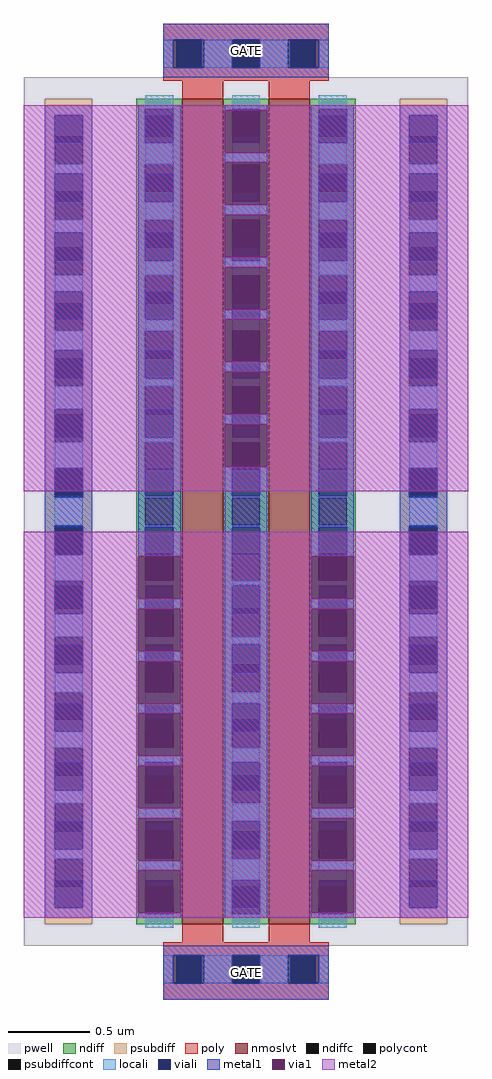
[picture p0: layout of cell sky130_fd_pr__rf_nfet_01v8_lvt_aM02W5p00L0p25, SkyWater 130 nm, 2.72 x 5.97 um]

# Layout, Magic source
magic
tech sky130A
magscale 1 2
<< pwell >>
rect 10 76 554 1138
<< nmoslvt >>
rect 204 102 254 1112
rect 310 102 360 1112
<< ndiff >>
rect 148 1100 204 1112
rect 148 1066 159 1100
rect 193 1066 204 1100
rect 148 1032 204 1066
rect 148 998 159 1032
rect 193 998 204 1032
rect 148 964 204 998
rect 148 930 159 964
rect 193 930 204 964
rect 148 896 204 930
rect 148 862 159 896
rect 193 862 204 896
rect 148 828 204 862
rect 148 794 159 828
rect 193 794 204 828
rect 148 760 204 794
rect 148 726 159 760
rect 193 726 204 760
rect 148 692 204 726
rect 148 658 159 692
rect 193 658 204 692
rect 148 624 204 658
rect 148 590 159 624
rect 193 590 204 624
rect 148 556 204 590
rect 148 522 159 556
rect 193 522 204 556
rect 148 488 204 522
rect 148 454 159 488
rect 193 454 204 488
rect 148 420 204 454
rect 148 386 159 420
rect 193 386 204 420
rect 148 352 204 386
rect 148 318 159 352
rect 193 318 204 352
rect 148 284 204 318
rect 148 250 159 284
rect 193 250 204 284
rect 148 216 204 250
rect 148 182 159 216
rect 193 182 204 216
rect 148 148 204 182
rect 148 114 159 148
rect 193 114 204 148
rect 148 102 204 114
rect 254 1100 310 1112
rect 254 1066 265 1100
rect 299 1066 310 1100
rect 254 1032 310 1066
rect 254 998 265 1032
rect 299 998 310 1032
rect 254 964 310 998
rect 254 930 265 964
rect 299 930 310 964
rect 254 896 310 930
rect 254 862 265 896
rect 299 862 310 896
rect 254 828 310 862
rect 254 794 265 828
rect 299 794 310 828
rect 254 760 310 794
rect 254 726 265 760
rect 299 726 310 760
rect 254 692 310 726
rect 254 658 265 692
rect 299 658 310 692
rect 254 624 310 658
rect 254 590 265 624
rect 299 590 310 624
rect 254 556 310 590
rect 254 522 265 556
rect 299 522 310 556
rect 254 488 310 522
rect 254 454 265 488
rect 299 454 310 488
rect 254 420 310 454
rect 254 386 265 420
rect 299 386 310 420
rect 254 352 310 386
rect 254 318 265 352
rect 299 318 310 352
rect 254 284 310 318
rect 254 250 265 284
rect 299 250 310 284
rect 254 216 310 250
rect 254 182 265 216
rect 299 182 310 216
rect 254 148 310 182
rect 254 114 265 148
rect 299 114 310 148
rect 254 102 310 114
rect 360 1100 416 1112
rect 360 1066 371 1100
rect 405 1066 416 1100
rect 360 1032 416 1066
rect 360 998 371 1032
rect 405 998 416 1032
rect 360 964 416 998
rect 360 930 371 964
rect 405 930 416 964
rect 360 896 416 930
rect 360 862 371 896
rect 405 862 416 896
rect 360 828 416 862
rect 360 794 371 828
rect 405 794 416 828
rect 360 760 416 794
rect 360 726 371 760
rect 405 726 416 760
rect 360 692 416 726
rect 360 658 371 692
rect 405 658 416 692
rect 360 624 416 658
rect 360 590 371 624
rect 405 590 416 624
rect 360 556 416 590
rect 360 522 371 556
rect 405 522 416 556
rect 360 488 416 522
rect 360 454 371 488
rect 405 454 416 488
rect 360 420 416 454
rect 360 386 371 420
rect 405 386 416 420
rect 360 352 416 386
rect 360 318 371 352
rect 405 318 416 352
rect 360 284 416 318
rect 360 250 371 284
rect 405 250 416 284
rect 360 216 416 250
rect 360 182 371 216
rect 405 182 416 216
rect 360 148 416 182
rect 360 114 371 148
rect 405 114 416 148
rect 360 102 416 114
<< ndiffc >>
rect 159 1066 193 1100
rect 159 998 193 1032
rect 159 930 193 964
rect 159 862 193 896
rect 159 794 193 828
rect 159 726 193 760
rect 159 658 193 692
rect 159 590 193 624
rect 159 522 193 556
rect 159 454 193 488
rect 159 386 193 420
rect 159 318 193 352
rect 159 250 193 284
rect 159 182 193 216
rect 159 114 193 148
rect 265 1066 299 1100
rect 265 998 299 1032
rect 265 930 299 964
rect 265 862 299 896
rect 265 794 299 828
rect 265 726 299 760
rect 265 658 299 692
rect 265 590 299 624
rect 265 522 299 556
rect 265 454 299 488
rect 265 386 299 420
rect 265 318 299 352
rect 265 250 299 284
rect 265 182 299 216
rect 265 114 299 148
rect 371 1066 405 1100
rect 371 998 405 1032
rect 371 930 405 964
rect 371 862 405 896
rect 371 794 405 828
rect 371 726 405 760
rect 371 658 405 692
rect 371 590 405 624
rect 371 522 405 556
rect 371 454 405 488
rect 371 386 405 420
rect 371 318 405 352
rect 371 250 405 284
rect 371 182 405 216
rect 371 114 405 148
<< psubdiff >>
rect 36 1066 94 1112
rect 36 1032 48 1066
rect 82 1032 94 1066
rect 36 998 94 1032
rect 36 964 48 998
rect 82 964 94 998
rect 36 930 94 964
rect 36 896 48 930
rect 82 896 94 930
rect 36 862 94 896
rect 36 828 48 862
rect 82 828 94 862
rect 36 794 94 828
rect 36 760 48 794
rect 82 760 94 794
rect 36 726 94 760
rect 36 692 48 726
rect 82 692 94 726
rect 36 658 94 692
rect 36 624 48 658
rect 82 624 94 658
rect 36 590 94 624
rect 36 556 48 590
rect 82 556 94 590
rect 36 522 94 556
rect 36 488 48 522
rect 82 488 94 522
rect 36 454 94 488
rect 36 420 48 454
rect 82 420 94 454
rect 36 386 94 420
rect 36 352 48 386
rect 82 352 94 386
rect 36 318 94 352
rect 36 284 48 318
rect 82 284 94 318
rect 36 250 94 284
rect 36 216 48 250
rect 82 216 94 250
rect 36 182 94 216
rect 36 148 48 182
rect 82 148 94 182
rect 36 102 94 148
rect 470 1066 528 1112
rect 470 1032 482 1066
rect 516 1032 528 1066
rect 470 998 528 1032
rect 470 964 482 998
rect 516 964 528 998
rect 470 930 528 964
rect 470 896 482 930
rect 516 896 528 930
rect 470 862 528 896
rect 470 828 482 862
rect 516 828 528 862
rect 470 794 528 828
rect 470 760 482 794
rect 516 760 528 794
rect 470 726 528 760
rect 470 692 482 726
rect 516 692 528 726
rect 470 658 528 692
rect 470 624 482 658
rect 516 624 528 658
rect 470 590 528 624
rect 470 556 482 590
rect 516 556 528 590
rect 470 522 528 556
rect 470 488 482 522
rect 516 488 528 522
rect 470 454 528 488
rect 470 420 482 454
rect 516 420 528 454
rect 470 386 528 420
rect 470 352 482 386
rect 516 352 528 386
rect 470 318 528 352
rect 470 284 482 318
rect 516 284 528 318
rect 470 250 528 284
rect 470 216 482 250
rect 516 216 528 250
rect 470 182 528 216
rect 470 148 482 182
rect 516 148 528 182
rect 470 102 528 148
<< psubdiffcont >>
rect 48 1032 82 1066
rect 48 964 82 998
rect 48 896 82 930
rect 48 828 82 862
rect 48 760 82 794
rect 48 692 82 726
rect 48 624 82 658
rect 48 556 82 590
rect 48 488 82 522
rect 48 420 82 454
rect 48 352 82 386
rect 48 284 82 318
rect 48 216 82 250
rect 48 148 82 182
rect 482 1032 516 1066
rect 482 964 516 998
rect 482 896 516 930
rect 482 828 516 862
rect 482 760 516 794
rect 482 692 516 726
rect 482 624 516 658
rect 482 556 516 590
rect 482 488 516 522
rect 482 420 516 454
rect 482 352 516 386
rect 482 284 516 318
rect 482 216 516 250
rect 482 148 516 182
<< poly >>
rect 181 1184 383 1204
rect 181 1150 197 1184
rect 231 1150 265 1184
rect 299 1150 333 1184
rect 367 1150 383 1184
rect 181 1134 383 1150
rect 204 1112 254 1134
rect 310 1112 360 1134
rect 204 80 254 102
rect 310 80 360 102
rect 181 64 383 80
rect 181 30 197 64
rect 231 30 265 64
rect 299 30 333 64
rect 367 30 383 64
rect 181 10 383 30
<< polycont >>
rect 197 1150 231 1184
rect 265 1150 299 1184
rect 333 1150 367 1184
rect 197 30 231 64
rect 265 30 299 64
rect 333 30 367 64
<< locali >>
rect 181 1150 193 1184
rect 231 1150 265 1184
rect 299 1150 333 1184
rect 371 1150 383 1184
rect 159 1100 193 1116
rect 48 1020 82 1032
rect 48 948 82 964
rect 48 876 82 896
rect 48 804 82 828
rect 48 732 82 760
rect 48 660 82 692
rect 48 590 82 624
rect 48 522 82 554
rect 48 454 82 482
rect 48 386 82 410
rect 48 318 82 338
rect 48 250 82 266
rect 48 182 82 194
rect 159 1032 193 1058
rect 159 964 193 986
rect 159 896 193 914
rect 159 828 193 842
rect 159 760 193 770
rect 159 692 193 698
rect 159 624 193 626
rect 159 588 193 590
rect 159 516 193 522
rect 159 444 193 454
rect 159 372 193 386
rect 159 300 193 318
rect 159 228 193 250
rect 159 156 193 182
rect 159 98 193 114
rect 265 1100 299 1116
rect 265 1032 299 1058
rect 265 964 299 986
rect 265 896 299 914
rect 265 828 299 842
rect 265 760 299 770
rect 265 692 299 698
rect 265 624 299 626
rect 265 588 299 590
rect 265 516 299 522
rect 265 444 299 454
rect 265 372 299 386
rect 265 300 299 318
rect 265 228 299 250
rect 265 156 299 182
rect 265 98 299 114
rect 371 1100 405 1116
rect 371 1032 405 1058
rect 371 964 405 986
rect 371 896 405 914
rect 371 828 405 842
rect 371 760 405 770
rect 371 692 405 698
rect 371 624 405 626
rect 371 588 405 590
rect 371 516 405 522
rect 371 444 405 454
rect 371 372 405 386
rect 371 300 405 318
rect 371 228 405 250
rect 371 156 405 182
rect 482 1020 516 1032
rect 482 948 516 964
rect 482 876 516 896
rect 482 804 516 828
rect 482 732 516 760
rect 482 660 516 692
rect 482 590 516 624
rect 482 522 516 554
rect 482 454 516 482
rect 482 386 516 410
rect 482 318 516 338
rect 482 250 516 266
rect 482 182 516 194
rect 371 98 405 114
rect 181 30 193 64
rect 231 30 265 64
rect 299 30 333 64
rect 371 30 383 64
<< viali >>
rect 193 1150 197 1184
rect 197 1150 227 1184
rect 265 1150 299 1184
rect 337 1150 367 1184
rect 367 1150 371 1184
rect 48 1066 82 1092
rect 48 1058 82 1066
rect 48 998 82 1020
rect 48 986 82 998
rect 48 930 82 948
rect 48 914 82 930
rect 48 862 82 876
rect 48 842 82 862
rect 48 794 82 804
rect 48 770 82 794
rect 48 726 82 732
rect 48 698 82 726
rect 48 658 82 660
rect 48 626 82 658
rect 48 556 82 588
rect 48 554 82 556
rect 48 488 82 516
rect 48 482 82 488
rect 48 420 82 444
rect 48 410 82 420
rect 48 352 82 372
rect 48 338 82 352
rect 48 284 82 300
rect 48 266 82 284
rect 48 216 82 228
rect 48 194 82 216
rect 48 148 82 156
rect 48 122 82 148
rect 159 1066 193 1092
rect 159 1058 193 1066
rect 159 998 193 1020
rect 159 986 193 998
rect 159 930 193 948
rect 159 914 193 930
rect 159 862 193 876
rect 159 842 193 862
rect 159 794 193 804
rect 159 770 193 794
rect 159 726 193 732
rect 159 698 193 726
rect 159 658 193 660
rect 159 626 193 658
rect 159 556 193 588
rect 159 554 193 556
rect 159 488 193 516
rect 159 482 193 488
rect 159 420 193 444
rect 159 410 193 420
rect 159 352 193 372
rect 159 338 193 352
rect 159 284 193 300
rect 159 266 193 284
rect 159 216 193 228
rect 159 194 193 216
rect 159 148 193 156
rect 159 122 193 148
rect 265 1066 299 1092
rect 265 1058 299 1066
rect 265 998 299 1020
rect 265 986 299 998
rect 265 930 299 948
rect 265 914 299 930
rect 265 862 299 876
rect 265 842 299 862
rect 265 794 299 804
rect 265 770 299 794
rect 265 726 299 732
rect 265 698 299 726
rect 265 658 299 660
rect 265 626 299 658
rect 265 556 299 588
rect 265 554 299 556
rect 265 488 299 516
rect 265 482 299 488
rect 265 420 299 444
rect 265 410 299 420
rect 265 352 299 372
rect 265 338 299 352
rect 265 284 299 300
rect 265 266 299 284
rect 265 216 299 228
rect 265 194 299 216
rect 265 148 299 156
rect 265 122 299 148
rect 371 1066 405 1092
rect 371 1058 405 1066
rect 371 998 405 1020
rect 371 986 405 998
rect 371 930 405 948
rect 371 914 405 930
rect 371 862 405 876
rect 371 842 405 862
rect 371 794 405 804
rect 371 770 405 794
rect 371 726 405 732
rect 371 698 405 726
rect 371 658 405 660
rect 371 626 405 658
rect 371 556 405 588
rect 371 554 405 556
rect 371 488 405 516
rect 371 482 405 488
rect 371 420 405 444
rect 371 410 405 420
rect 371 352 405 372
rect 371 338 405 352
rect 371 284 405 300
rect 371 266 405 284
rect 371 216 405 228
rect 371 194 405 216
rect 371 148 405 156
rect 371 122 405 148
rect 482 1066 516 1092
rect 482 1058 516 1066
rect 482 998 516 1020
rect 482 986 516 998
rect 482 930 516 948
rect 482 914 516 930
rect 482 862 516 876
rect 482 842 516 862
rect 482 794 516 804
rect 482 770 516 794
rect 482 726 516 732
rect 482 698 516 726
rect 482 658 516 660
rect 482 626 516 658
rect 482 556 516 588
rect 482 554 516 556
rect 482 488 516 516
rect 482 482 516 488
rect 482 420 516 444
rect 482 410 516 420
rect 482 352 516 372
rect 482 338 516 352
rect 482 284 516 300
rect 482 266 516 284
rect 482 216 516 228
rect 482 194 516 216
rect 482 148 516 156
rect 482 122 516 148
rect 193 30 197 64
rect 197 30 227 64
rect 265 30 299 64
rect 337 30 367 64
rect 367 30 371 64
<< metal1 >>
rect 181 1184 383 1204
rect 181 1150 193 1184
rect 227 1150 265 1184
rect 299 1150 337 1184
rect 371 1150 383 1184
rect 181 1138 383 1150
rect 36 1092 94 1104
rect 36 1058 48 1092
rect 82 1058 94 1092
rect 36 1020 94 1058
rect 36 986 48 1020
rect 82 986 94 1020
rect 36 948 94 986
rect 36 914 48 948
rect 82 914 94 948
rect 36 876 94 914
rect 36 842 48 876
rect 82 842 94 876
rect 36 804 94 842
rect 36 770 48 804
rect 82 770 94 804
rect 36 732 94 770
rect 36 698 48 732
rect 82 698 94 732
rect 36 660 94 698
rect 36 626 48 660
rect 82 626 94 660
rect 36 588 94 626
rect 36 554 48 588
rect 82 554 94 588
rect 36 516 94 554
rect 36 482 48 516
rect 82 482 94 516
rect 36 444 94 482
rect 36 410 48 444
rect 82 410 94 444
rect 36 372 94 410
rect 36 338 48 372
rect 82 338 94 372
rect 36 300 94 338
rect 36 266 48 300
rect 82 266 94 300
rect 36 228 94 266
rect 36 194 48 228
rect 82 194 94 228
rect 36 156 94 194
rect 36 122 48 156
rect 82 122 94 156
rect 36 110 94 122
rect 150 1092 202 1104
rect 150 1058 159 1092
rect 193 1058 202 1092
rect 150 1020 202 1058
rect 150 986 159 1020
rect 193 986 202 1020
rect 150 948 202 986
rect 150 914 159 948
rect 193 914 202 948
rect 150 876 202 914
rect 150 842 159 876
rect 193 842 202 876
rect 150 804 202 842
rect 150 770 159 804
rect 193 770 202 804
rect 150 732 202 770
rect 150 698 159 732
rect 193 698 202 732
rect 150 660 202 698
rect 150 626 159 660
rect 193 626 202 660
rect 150 588 202 626
rect 150 554 159 588
rect 193 554 202 588
rect 150 552 202 554
rect 150 488 159 500
rect 193 488 202 500
rect 150 424 159 436
rect 193 424 202 436
rect 150 360 159 372
rect 193 360 202 372
rect 150 300 202 308
rect 150 296 159 300
rect 193 296 202 300
rect 150 232 202 244
rect 150 168 202 180
rect 150 110 202 116
rect 256 1098 308 1104
rect 256 1034 308 1046
rect 256 970 308 982
rect 256 914 265 918
rect 299 914 308 918
rect 256 906 308 914
rect 256 842 265 854
rect 299 842 308 854
rect 256 778 265 790
rect 299 778 308 790
rect 256 714 265 726
rect 299 714 308 726
rect 256 660 308 662
rect 256 626 265 660
rect 299 626 308 660
rect 256 588 308 626
rect 256 554 265 588
rect 299 554 308 588
rect 256 516 308 554
rect 256 482 265 516
rect 299 482 308 516
rect 256 444 308 482
rect 256 410 265 444
rect 299 410 308 444
rect 256 372 308 410
rect 256 338 265 372
rect 299 338 308 372
rect 256 300 308 338
rect 256 266 265 300
rect 299 266 308 300
rect 256 228 308 266
rect 256 194 265 228
rect 299 194 308 228
rect 256 156 308 194
rect 256 122 265 156
rect 299 122 308 156
rect 256 110 308 122
rect 362 1092 414 1104
rect 362 1058 371 1092
rect 405 1058 414 1092
rect 362 1020 414 1058
rect 362 986 371 1020
rect 405 986 414 1020
rect 362 948 414 986
rect 362 914 371 948
rect 405 914 414 948
rect 362 876 414 914
rect 362 842 371 876
rect 405 842 414 876
rect 362 804 414 842
rect 362 770 371 804
rect 405 770 414 804
rect 362 732 414 770
rect 362 698 371 732
rect 405 698 414 732
rect 362 660 414 698
rect 362 626 371 660
rect 405 626 414 660
rect 362 588 414 626
rect 362 554 371 588
rect 405 554 414 588
rect 362 552 414 554
rect 362 488 371 500
rect 405 488 414 500
rect 362 424 371 436
rect 405 424 414 436
rect 362 360 371 372
rect 405 360 414 372
rect 362 300 414 308
rect 362 296 371 300
rect 405 296 414 300
rect 362 232 414 244
rect 362 168 414 180
rect 362 110 414 116
rect 470 1092 528 1104
rect 470 1058 482 1092
rect 516 1058 528 1092
rect 470 1020 528 1058
rect 470 986 482 1020
rect 516 986 528 1020
rect 470 948 528 986
rect 470 914 482 948
rect 516 914 528 948
rect 470 876 528 914
rect 470 842 482 876
rect 516 842 528 876
rect 470 804 528 842
rect 470 770 482 804
rect 516 770 528 804
rect 470 732 528 770
rect 470 698 482 732
rect 516 698 528 732
rect 470 660 528 698
rect 470 626 482 660
rect 516 626 528 660
rect 470 588 528 626
rect 470 554 482 588
rect 516 554 528 588
rect 470 516 528 554
rect 470 482 482 516
rect 516 482 528 516
rect 470 444 528 482
rect 470 410 482 444
rect 516 410 528 444
rect 470 372 528 410
rect 470 338 482 372
rect 516 338 528 372
rect 470 300 528 338
rect 470 266 482 300
rect 516 266 528 300
rect 470 228 528 266
rect 470 194 482 228
rect 516 194 528 228
rect 470 156 528 194
rect 470 122 482 156
rect 516 122 528 156
rect 470 110 528 122
rect 181 64 383 76
rect 181 30 193 64
rect 227 30 265 64
rect 299 30 337 64
rect 371 30 383 64
rect 181 10 383 30
<< via1 >>
rect 150 516 202 552
rect 150 500 159 516
rect 159 500 193 516
rect 193 500 202 516
rect 150 482 159 488
rect 159 482 193 488
rect 193 482 202 488
rect 150 444 202 482
rect 150 436 159 444
rect 159 436 193 444
rect 193 436 202 444
rect 150 410 159 424
rect 159 410 193 424
rect 193 410 202 424
rect 150 372 202 410
rect 150 338 159 360
rect 159 338 193 360
rect 193 338 202 360
rect 150 308 202 338
rect 150 266 159 296
rect 159 266 193 296
rect 193 266 202 296
rect 150 244 202 266
rect 150 228 202 232
rect 150 194 159 228
rect 159 194 193 228
rect 193 194 202 228
rect 150 180 202 194
rect 150 156 202 168
rect 150 122 159 156
rect 159 122 193 156
rect 193 122 202 156
rect 150 116 202 122
rect 256 1092 308 1098
rect 256 1058 265 1092
rect 265 1058 299 1092
rect 299 1058 308 1092
rect 256 1046 308 1058
rect 256 1020 308 1034
rect 256 986 265 1020
rect 265 986 299 1020
rect 299 986 308 1020
rect 256 982 308 986
rect 256 948 308 970
rect 256 918 265 948
rect 265 918 299 948
rect 299 918 308 948
rect 256 876 308 906
rect 256 854 265 876
rect 265 854 299 876
rect 299 854 308 876
rect 256 804 308 842
rect 256 790 265 804
rect 265 790 299 804
rect 299 790 308 804
rect 256 770 265 778
rect 265 770 299 778
rect 299 770 308 778
rect 256 732 308 770
rect 256 726 265 732
rect 265 726 299 732
rect 299 726 308 732
rect 256 698 265 714
rect 265 698 299 714
rect 299 698 308 714
rect 256 662 308 698
rect 362 516 414 552
rect 362 500 371 516
rect 371 500 405 516
rect 405 500 414 516
rect 362 482 371 488
rect 371 482 405 488
rect 405 482 414 488
rect 362 444 414 482
rect 362 436 371 444
rect 371 436 405 444
rect 405 436 414 444
rect 362 410 371 424
rect 371 410 405 424
rect 405 410 414 424
rect 362 372 414 410
rect 362 338 371 360
rect 371 338 405 360
rect 405 338 414 360
rect 362 308 414 338
rect 362 266 371 296
rect 371 266 405 296
rect 405 266 414 296
rect 362 244 414 266
rect 362 228 414 232
rect 362 194 371 228
rect 371 194 405 228
rect 405 194 414 228
rect 362 180 414 194
rect 362 156 414 168
rect 362 122 371 156
rect 371 122 405 156
rect 405 122 414 156
rect 362 116 414 122
<< metal2 >>
rect 10 1098 554 1104
rect 10 1046 256 1098
rect 308 1046 554 1098
rect 10 1034 554 1046
rect 10 982 256 1034
rect 308 982 554 1034
rect 10 970 554 982
rect 10 918 256 970
rect 308 918 554 970
rect 10 906 554 918
rect 10 854 256 906
rect 308 854 554 906
rect 10 842 554 854
rect 10 790 256 842
rect 308 790 554 842
rect 10 778 554 790
rect 10 726 256 778
rect 308 726 554 778
rect 10 714 554 726
rect 10 662 256 714
rect 308 662 554 714
rect 10 632 554 662
rect 10 552 554 582
rect 10 500 150 552
rect 202 500 362 552
rect 414 500 554 552
rect 10 488 554 500
rect 10 436 150 488
rect 202 436 362 488
rect 414 436 554 488
rect 10 424 554 436
rect 10 372 150 424
rect 202 372 362 424
rect 414 372 554 424
rect 10 360 554 372
rect 10 308 150 360
rect 202 308 362 360
rect 414 308 554 360
rect 10 296 554 308
rect 10 244 150 296
rect 202 244 362 296
rect 414 244 554 296
rect 10 232 554 244
rect 10 180 150 232
rect 202 180 362 232
rect 414 180 554 232
rect 10 168 554 180
rect 10 116 150 168
rect 202 116 362 168
rect 414 116 554 168
rect 10 110 554 116
<< labels >>
flabel metal1 s 181 1138 383 1204 0 FreeSans 300 0 0 0 GATE
port 2 nsew
flabel metal1 s 181 10 383 76 0 FreeSans 300 0 0 0 GATE
port 2 nsew
<< properties >>
string GDS_FILE $PDKPATH/libs.ref/sky130_fd_pr/gds/sky130_fd_pr.gds
string GDS_END 6015498
string GDS_START 6000602
<< end >>
